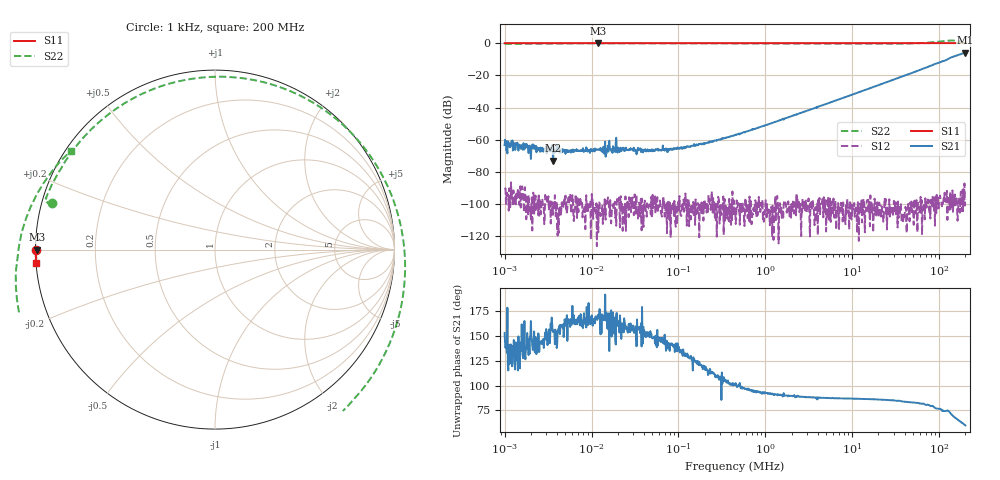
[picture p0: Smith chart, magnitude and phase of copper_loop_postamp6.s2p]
! ListType=Log
# MHZ S RI R 50
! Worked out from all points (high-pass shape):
!   1000 points, 1 kHz to 200 MHz, reference 50 ohm
!   highest |S21| = -5.87 dB at 200 MHz (marker M1); lowest = -72.9 dB at 3.607 kHz (marker M2)
!   |S21| within 3 dB of the highest: 137.3 MHz to end of sweep
!   lowest |S11| = -0.1 dB at 11.95 kHz (marker M3), VSWR 279.21, Z = 0.179 - j0.0224 ohm
!   |S11| at or under -10 dB: nowhere
!   |S22| runs from -0.5 to 1.7 dB; largest |S21 - S12| = 0.51
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0.001  -0.9961 -0.000851  -0.000611 0.000306  -1.15e-05 -2.99e-05  -0.9089 0.26
0.0036072  -0.9969 -0.000493  -0.000204 9.8e-05  -8e-07 -4.6e-06  -0.9369 0.2652
0.0076941  -0.9968 -0.000175  -0.000473 0.000121  -2.1e-06 8.4e-06  -0.9422 0.2759
0.011945  -0.9929 -0.000891  -0.000481 9.7e-05  -1.2e-06 6e-07  -0.9435 0.2782
0.0584804  -0.9969 3.4e-06  -0.000421 0.000263  1.1e-06 -7.5e-06  -0.9406 0.2882
0.1173468  -0.997 -0.00016  -0.000386 0.000458  4.3e-06 -1e-05  -0.939 0.2894
0.4499541  -0.9968 -0.000232  -0.000282 0.0014  1.8e-06 7.1e-06  -0.9349 0.303
3.419952  -0.997 -0.00136  0.00029 0.00901  -1.8e-06 -7.2e-06  -0.8867 0.4028
12.03851  -0.9975 -0.00469  0.00171 0.0302  -7.5e-06 -3e-07  -0.7122 0.6466
26.31347  -0.9978 -0.00964  0.00515 0.0649  3.6e-06 -3.5e-06  -0.3118 0.9064
38.43037  -0.9981 -0.0138  0.00997 0.0943  1.2e-06 -2.3e-06  0.0882 0.9611
50.9003  -0.9982 -0.0177  0.0154 0.1234  -1e-07 -2.3e-06  0.4925 0.8486
64.99008  -0.9979 -0.0227  0.0225 0.1583  6e-06 -3.9e-06  0.8567 0.5339
81.97236  -0.998 -0.0286  0.0367 0.1999  5.3e-06 -7.1e-06  1.057 -0.0223
92.62555  -0.9988 -0.0324  0.0517 0.2254  -3.4e-06 -4.1e-06  1.016 -0.4025
103.3922  -0.9976 -0.0361  0.0599 0.2523  -9.6e-06 -1.12e-05  0.8402 -0.7545
116.8291  -0.9979 -0.0395  0.0779 0.2782  1.25e-05 -4.9e-06  0.4616 -1.075
128.8255  -0.9952 -0.0463  0.0904 0.3189  -1.25e-05 -1.01e-05  0.0311 -1.195
145.5678  -0.9992 -0.0537  0.1361 0.3562  5.8e-06 -1.22e-05  -0.5687 -1.06
164.4859  -0.9987 -0.0596  0.1763 0.3865  4.6e-06 -3.3e-06  -1.028 -0.5582
179.1732  -0.999 -0.0651  0.208 0.4135  -1.87e-05 -8.8e-06  -1.102 -0.0581
200  -0.9997 -0.0751  0.2555 0.4397  -1.29e-05 -6.6e-06  -0.8026 0.5506
